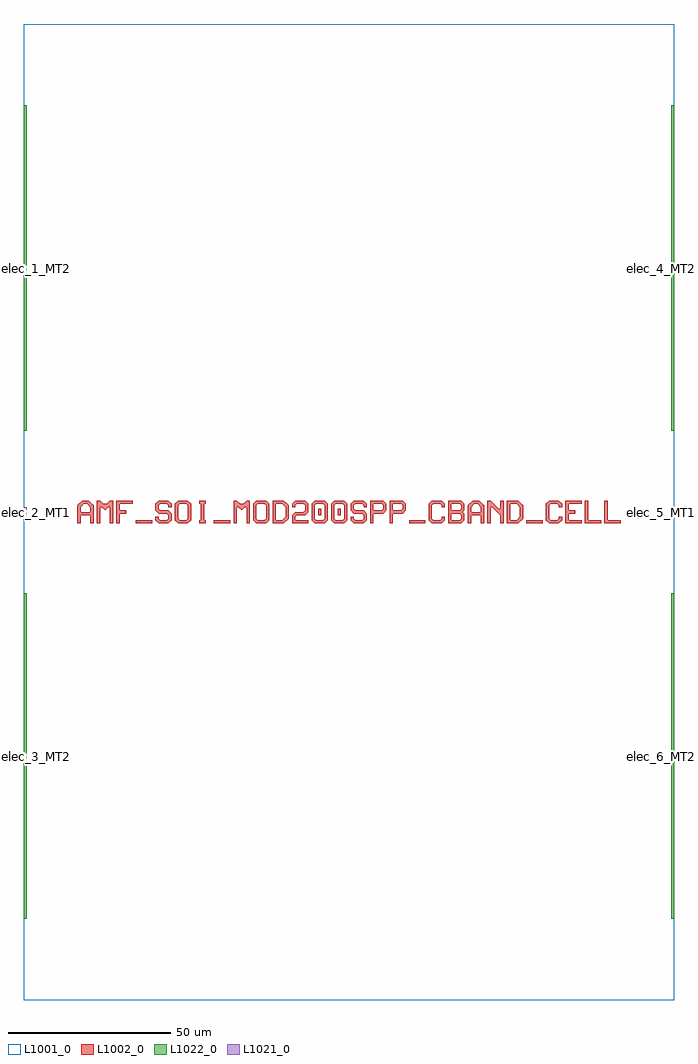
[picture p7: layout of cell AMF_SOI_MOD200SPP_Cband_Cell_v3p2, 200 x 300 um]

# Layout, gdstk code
import gdstk
lib = gdstk.Library(unit=1e-6, precision=1e-09)
def R(c, l, rs):  # rectangles x0, y0, x1, y1
    for r in rs: c.add(gdstk.rectangle(r[:2], r[2:], *l))
def P(c, l, *ps):  # polygons
    for p in ps: c.add(gdstk.Polygon(p, *l))
L1001_0 = (1001, 0)
L1002_0 = (1002, 0)
L1021_0 = (1021, 0)
L1022_0 = (1022, 0)

amf_soi_mod200spp_cband_ = lib.new_cell('AMF_SOI_MOD200SPP_Cband_Cell_v3p2')
R(amf_soi_mod200spp_cband_, L1001_0, [(0,-150,200,150)])
R(amf_soi_mod200spp_cband_, L1002_0, [(34.5,-3.5,39.5,-2.5), (58.5,-3.5,63.5,-2.5), (118.5,-3.5,123.5,-2.5), (154.5,-3.5,159.5,-2.5), (90.5,-1,91.5,1), (96.5,-1,97.5,1)])
P(amf_soi_mod200spp_cband_, L1002_0, [(16.5,-3.5),(16.5,2),(18,3.5),(20,3.5),(21,2.5),(18.5,2.5),(17.5,1.5),(17.5,0),(20.5,0),(20.5,1.5),(19.5,2.5),(21,2.5),(21.5,2),(21.5,-3.5),(20.5,-3.5),(20.5,-1),(17.5,-1),(17.5,-3.5)],
  [(22.5,-3.5),(22.5,3.5),(23.5,3.5),(24.5,2.5),(25.5,2.5),(26.5,3.5),(27.5,3.5),(27.5,-3.5),(26.5,-3.5),(26.5,1.5),(26,1.5),(25,0.5),(24,1.5),(23.5,1.5),(23.5,-3.5)],
  [(28.5,-3.5),(28.5,3.5),(33.5,3.5),(33.5,2.5),(29.5,2.5),(29.5,0.5),(31.5,0.5),(31.5,-0.5),(29.5,-0.5),(29.5,-3.5)],
  [(41.5,-3.5),(40.5,-2.5),(40.5,-1.5),(41.5,-1.5),(41.5,-2),(42,-2.5),(44,-2.5),(44.5,-2),(44.5,-1),(44,-0.5),(41.5,-0.5),(40.5,0.5),(40.5,2.5),(41.5,3.5),(44.5,3.5),(45.5,2.5),(45.5,1.5),(44.5,1.5),(44.5,2),(44,2.5),(42,2.5),(41.5,2),(41.5,1),(42,0.5),(44.5,0.5),(45.5,-0.5),(45.5,-2.5),(44.5,-3.5)],
  [(47.5,-3.5),(46.5,-2.5),(46.5,2.5),(47.5,3.5),(50.5,3.5),(51.5,2.5),(51.5,0),(50.5,0),(50.5,2),(50,2.5),(48,2.5),(47.5,2),(47.5,-2),(48,-2.5),(50,-2.5),(50.5,-2),(50.5,0),(51.5,0),(51.5,-2.5),(50.5,-3.5)],
  [(54,-3.5),(54,-2.5),(54.5,-2.5),(54.5,2.5),(54,2.5),(54,3.5),(56,3.5),(56,2.5),(55.5,2.5),(55.5,-2.5),(56,-2.5),(56,-3.5)],
  [(64.5,-3.5),(64.5,3.5),(65.5,3.5),(66.5,2.5),(67.5,2.5),(68.5,3.5),(69.5,3.5),(69.5,-3.5),(68.5,-3.5),(68.5,1.5),(68,1.5),(67,0.5),(66,1.5),(65.5,1.5),(65.5,-3.5)],
  [(71.5,-3.5),(70.5,-2.5),(70.5,2.5),(71.5,3.5),(74.5,3.5),(75.5,2.5),(75.5,0),(74.5,0),(74.5,2),(74,2.5),(72,2.5),(71.5,2),(71.5,-2),(72,-2.5),(74,-2.5),(74.5,-2),(74.5,0),(75.5,0),(75.5,-2.5),(74.5,-3.5)],
  [(76.5,-3.5),(76.5,3.5),(80,3.5),(81,2.5),(77.5,2.5),(77.5,-2.5),(79.5,-2.5),(80.5,-1.5),(80.5,1.5),(79.5,2.5),(81,2.5),(81.5,2),(81.5,-2),(80,-3.5)],
  [(82.5,-3.5),(82.5,-1),(83.5,0),(86,0),(86.5,0.5),(86.5,2),(86,2.5),(84,2.5),(83.5,2),(83.5,1.5),(82.5,1.5),(82.5,2.5),(83.5,3.5),(86.5,3.5),(87.5,2.5),(87.5,0),(86.5,-1),(84,-1),(83.5,-1.5),(83.5,-2.5),(87.5,-2.5),(87.5,-3.5)],
  [(89.5,-3.5),(88.5,-2.5),(88.5,2.5),(89.5,3.5),(92.5,3.5),(93.5,2.5),(90,2.5),(89.5,2),(89.5,-2),(90,-2.5),(92,-2.5),(92.5,-2),(92.5,2),(92,2.5),(93.5,2.5),(93.5,-2.5),(92.5,-3.5)],
  [(95.5,-3.5),(94.5,-2.5),(94.5,2.5),(95.5,3.5),(98.5,3.5),(99.5,2.5),(96,2.5),(95.5,2),(95.5,-2),(96,-2.5),(98,-2.5),(98.5,-2),(98.5,2),(98,2.5),(99.5,2.5),(99.5,-2.5),(98.5,-3.5)],
  [(101.5,-3.5),(100.5,-2.5),(100.5,-1.5),(101.5,-1.5),(101.5,-2),(102,-2.5),(104,-2.5),(104.5,-2),(104.5,-1),(104,-0.5),(101.5,-0.5),(100.5,0.5),(100.5,2.5),(101.5,3.5),(104.5,3.5),(105.5,2.5),(105.5,1.5),(104.5,1.5),(104.5,2),(104,2.5),(102,2.5),(101.5,2),(101.5,1),(102,0.5),(104.5,0.5),(105.5,-0.5),(105.5,-2.5),(104.5,-3.5)],
  [(106.5,-3.5),(106.5,3.5),(110.5,3.5),(111.5,2.5),(111.5,0.5),(110.5,-0.5),(107.5,-0.5),(107.5,0.5),(110,0.5),(110.5,1),(110.5,2),(110,2.5),(107.5,2.5),(107.5,-3.5)],
  [(112.5,-3.5),(112.5,3.5),(116.5,3.5),(117.5,2.5),(117.5,0.5),(116.5,-0.5),(113.5,-0.5),(113.5,0.5),(116,0.5),(116.5,1),(116.5,2),(116,2.5),(113.5,2.5),(113.5,-3.5)],
  [(125.5,-3.5),(124.5,-2.5),(124.5,2.5),(125.5,3.5),(128.5,3.5),(129.5,2.5),(129.5,1.5),(128.5,1.5),(128.5,2),(128,2.5),(126,2.5),(125.5,2),(125.5,-2),(126,-2.5),(128,-2.5),(128.5,-2),(128.5,-1.5),(129.5,-1.5),(129.5,-2.5),(128.5,-3.5)],
  [(130.5,-3.5),(130.5,3.5),(134.5,3.5),(135.5,2.5),(131.5,2.5),(131.5,0.5),(134,0.5),(134.5,1),(134.5,2),(134,2.5),(135.5,2.5),(135.5,0.5),(135,0),(135.5,-0.5),(131.5,-0.5),(131.5,-2.5),(134,-2.5),(134.5,-2),(134.5,-1),(134,-0.5),(135.5,-0.5),(135.5,-2.5),(134.5,-3.5)],
  [(136.5,-3.5),(136.5,2),(138,3.5),(140,3.5),(141,2.5),(138.5,2.5),(137.5,1.5),(137.5,0),(140.5,0),(140.5,1.5),(139.5,2.5),(141,2.5),(141.5,2),(141.5,-3.5),(140.5,-3.5),(140.5,-1),(137.5,-1),(137.5,-3.5)],
  [(142.5,-3.5),(142.5,3.5),(143.5,3.5),(146,1),(146.5,1),(146.5,3.5),(147.5,3.5),(147.5,-3.5),(146.5,-3.5),(146.5,-1),(144,1.5),(143.5,1.5),(143.5,-3.5)],
  [(148.5,-3.5),(148.5,3.5),(152,3.5),(153,2.5),(149.5,2.5),(149.5,-2.5),(151.5,-2.5),(152.5,-1.5),(152.5,1.5),(151.5,2.5),(153,2.5),(153.5,2),(153.5,-2),(152,-3.5)],
  [(161.5,-3.5),(160.5,-2.5),(160.5,2.5),(161.5,3.5),(164.5,3.5),(165.5,2.5),(165.5,1.5),(164.5,1.5),(164.5,2),(164,2.5),(162,2.5),(161.5,2),(161.5,-2),(162,-2.5),(164,-2.5),(164.5,-2),(164.5,-1.5),(165.5,-1.5),(165.5,-2.5),(164.5,-3.5)],
  [(166.5,-3.5),(166.5,3.5),(171.5,3.5),(171.5,2.5),(167.5,2.5),(167.5,0.5),(169.5,0.5),(169.5,-0.5),(167.5,-0.5),(167.5,-2.5),(171.5,-2.5),(171.5,-3.5)],
  [(172.5,-3.5),(172.5,3.5),(173.5,3.5),(173.5,-2.5),(177.5,-2.5),(177.5,-3.5)],
  [(178.5,-3.5),(178.5,3.5),(179.5,3.5),(179.5,-2.5),(183.5,-2.5),(183.5,-3.5)])
R(amf_soi_mod200spp_cband_, L1021_0, [(0,-1.5,1,1.5), (199,-1.5,200,1.5)])
R(amf_soi_mod200spp_cband_, L1022_0, [(0,-125,1,-25), (199,-125,200,-25), (0,25,1,125), (199,25,200,125)])
amf_soi_mod200spp_cband_.add(gdstk.Label('elec_5_MT1', (200,0), layer=1021, texttype=0))
amf_soi_mod200spp_cband_.add(gdstk.Label('elec_2_MT1', (0,0), layer=1021, texttype=0))
amf_soi_mod200spp_cband_.add(gdstk.Label('elec_4_MT2', (200,75), layer=1022, texttype=0))
amf_soi_mod200spp_cband_.add(gdstk.Label('elec_6_MT2', (200,-75), layer=1022, texttype=0))
amf_soi_mod200spp_cband_.add(gdstk.Label('elec_3_MT2', (0,-75), layer=1022, texttype=0))
amf_soi_mod200spp_cband_.add(gdstk.Label('elec_1_MT2', (0,75), layer=1022, texttype=0))

lib.write_gds('AMF_SOI_MOD200SPP_Cband_Cell_v3p2.gds')
